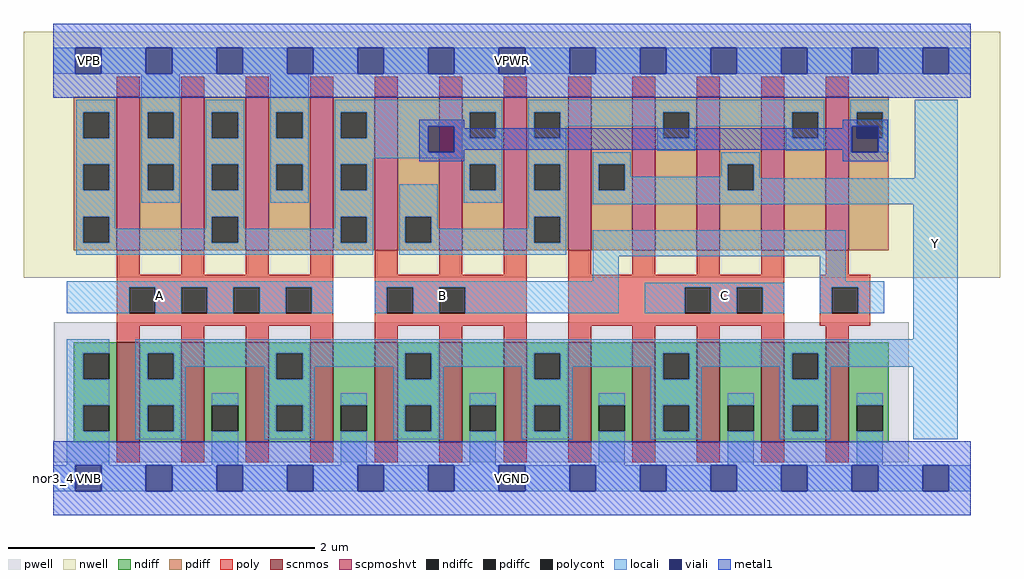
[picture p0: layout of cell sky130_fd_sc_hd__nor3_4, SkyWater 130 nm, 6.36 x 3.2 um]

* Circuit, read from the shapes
.subckt sky130_fd_sc_hd__nor3_4 A B C VGND VNB VPB VPWR Y
XM1 Y A VGND VNB sky130_fd_pr__nfet_01v8 w=0.65 l=0.15 m=4
XM2 Y B VGND VNB sky130_fd_pr__nfet_01v8 w=0.65 l=0.15 m=4
XM3 VGND C Y VNB sky130_fd_pr__nfet_01v8 w=0.65 l=0.15 m=4
XM4 VPWR A n1 VPB sky130_fd_pr__pfet_01v8_hvt w=1 l=0.15 m=4
XM5 n2 B n1 VPB sky130_fd_pr__pfet_01v8_hvt w=1 l=0.15 m=4
XM6 Y C n2 VPB sky130_fd_pr__pfet_01v8_hvt w=1 l=0.15 m=4
.ends

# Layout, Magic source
magic
tech sky130B
magscale 1 2
<< nwell >>
rect -38 261 1234 582
<< pwell >>
rect 1 21 1115 203
rect 30 -17 64 21
<< scnmos >>
rect 83 47 113 177
rect 167 47 197 177
rect 251 47 281 177
rect 335 47 365 177
rect 419 47 449 177
rect 503 47 533 177
rect 587 47 617 177
rect 671 47 701 177
rect 755 47 785 177
rect 839 47 869 177
rect 923 47 953 177
rect 1007 47 1037 177
<< scpmoshvt >>
rect 83 297 113 497
rect 167 297 197 497
rect 251 297 281 497
rect 335 297 365 497
rect 419 297 449 497
rect 503 297 533 497
rect 587 297 617 497
rect 671 297 701 497
rect 755 297 785 497
rect 839 297 869 497
rect 923 297 953 497
rect 1007 297 1037 497
<< ndiff >>
rect 27 163 83 177
rect 27 129 39 163
rect 73 129 83 163
rect 27 95 83 129
rect 27 61 39 95
rect 73 61 83 95
rect 27 47 83 61
rect 113 163 167 177
rect 113 129 123 163
rect 157 129 167 163
rect 113 95 167 129
rect 113 61 123 95
rect 157 61 167 95
rect 113 47 167 61
rect 197 95 251 177
rect 197 61 207 95
rect 241 61 251 95
rect 197 47 251 61
rect 281 163 335 177
rect 281 129 291 163
rect 325 129 335 163
rect 281 95 335 129
rect 281 61 291 95
rect 325 61 335 95
rect 281 47 335 61
rect 365 95 419 177
rect 365 61 375 95
rect 409 61 419 95
rect 365 47 419 61
rect 449 163 503 177
rect 449 129 459 163
rect 493 129 503 163
rect 449 95 503 129
rect 449 61 459 95
rect 493 61 503 95
rect 449 47 503 61
rect 533 95 587 177
rect 533 61 543 95
rect 577 61 587 95
rect 533 47 587 61
rect 617 163 671 177
rect 617 129 627 163
rect 661 129 671 163
rect 617 95 671 129
rect 617 61 627 95
rect 661 61 671 95
rect 617 47 671 61
rect 701 95 755 177
rect 701 61 711 95
rect 745 61 755 95
rect 701 47 755 61
rect 785 163 839 177
rect 785 129 795 163
rect 829 129 839 163
rect 785 95 839 129
rect 785 61 795 95
rect 829 61 839 95
rect 785 47 839 61
rect 869 95 923 177
rect 869 61 879 95
rect 913 61 923 95
rect 869 47 923 61
rect 953 163 1007 177
rect 953 129 963 163
rect 997 129 1007 163
rect 953 95 1007 129
rect 953 61 963 95
rect 997 61 1007 95
rect 953 47 1007 61
rect 1037 95 1089 177
rect 1037 61 1047 95
rect 1081 61 1089 95
rect 1037 47 1089 61
<< pdiff >>
rect 27 477 83 497
rect 27 443 39 477
rect 73 443 83 477
rect 27 409 83 443
rect 27 375 39 409
rect 73 375 83 409
rect 27 341 83 375
rect 27 307 39 341
rect 73 307 83 341
rect 27 297 83 307
rect 113 477 167 497
rect 113 443 123 477
rect 157 443 167 477
rect 113 409 167 443
rect 113 375 123 409
rect 157 375 167 409
rect 113 297 167 375
rect 197 477 251 497
rect 197 443 207 477
rect 241 443 251 477
rect 197 409 251 443
rect 197 375 207 409
rect 241 375 251 409
rect 197 341 251 375
rect 197 307 207 341
rect 241 307 251 341
rect 197 297 251 307
rect 281 477 335 497
rect 281 443 291 477
rect 325 443 335 477
rect 281 409 335 443
rect 281 375 291 409
rect 325 375 335 409
rect 281 297 335 375
rect 365 477 419 497
rect 365 443 375 477
rect 409 443 419 477
rect 365 409 419 443
rect 365 375 375 409
rect 409 375 419 409
rect 365 341 419 375
rect 365 307 375 341
rect 409 307 419 341
rect 365 297 419 307
rect 449 341 503 497
rect 449 307 459 341
rect 493 307 503 341
rect 449 297 503 307
rect 533 477 587 497
rect 533 443 543 477
rect 577 443 587 477
rect 533 409 587 443
rect 533 375 543 409
rect 577 375 587 409
rect 533 297 587 375
rect 617 477 671 497
rect 617 443 627 477
rect 661 443 671 477
rect 617 409 671 443
rect 617 375 627 409
rect 661 375 671 409
rect 617 341 671 375
rect 617 307 627 341
rect 661 307 671 341
rect 617 297 671 307
rect 701 409 755 497
rect 701 375 711 409
rect 745 375 755 409
rect 701 297 755 375
rect 785 477 839 497
rect 785 443 795 477
rect 829 443 839 477
rect 785 297 839 443
rect 869 409 923 497
rect 869 375 879 409
rect 913 375 923 409
rect 869 297 923 375
rect 953 477 1007 497
rect 953 443 963 477
rect 997 443 1007 477
rect 953 297 1007 443
rect 1037 477 1089 497
rect 1037 443 1047 477
rect 1081 443 1089 477
rect 1037 297 1089 443
<< ndiffc >>
rect 39 129 73 163
rect 39 61 73 95
rect 123 129 157 163
rect 123 61 157 95
rect 207 61 241 95
rect 291 129 325 163
rect 291 61 325 95
rect 375 61 409 95
rect 459 129 493 163
rect 459 61 493 95
rect 543 61 577 95
rect 627 129 661 163
rect 627 61 661 95
rect 711 61 745 95
rect 795 129 829 163
rect 795 61 829 95
rect 879 61 913 95
rect 963 129 997 163
rect 963 61 997 95
rect 1047 61 1081 95
<< pdiffc >>
rect 39 443 73 477
rect 39 375 73 409
rect 39 307 73 341
rect 123 443 157 477
rect 123 375 157 409
rect 207 443 241 477
rect 207 375 241 409
rect 207 307 241 341
rect 291 443 325 477
rect 291 375 325 409
rect 375 443 409 477
rect 375 375 409 409
rect 375 307 409 341
rect 459 307 493 341
rect 543 443 577 477
rect 543 375 577 409
rect 627 443 661 477
rect 627 375 661 409
rect 627 307 661 341
rect 711 375 745 409
rect 795 443 829 477
rect 879 375 913 409
rect 963 443 997 477
rect 1047 443 1081 477
<< poly >>
rect 83 497 113 523
rect 167 497 197 523
rect 251 497 281 523
rect 335 497 365 523
rect 419 497 449 523
rect 503 497 533 523
rect 587 497 617 523
rect 671 497 701 523
rect 755 497 785 523
rect 839 497 869 523
rect 923 497 953 523
rect 1007 497 1037 523
rect 83 265 113 297
rect 167 265 197 297
rect 251 265 281 297
rect 335 265 365 297
rect 83 249 365 265
rect 83 215 99 249
rect 133 215 167 249
rect 201 215 235 249
rect 269 215 303 249
rect 337 215 365 249
rect 83 199 365 215
rect 83 177 113 199
rect 167 177 197 199
rect 251 177 281 199
rect 335 177 365 199
rect 419 265 449 297
rect 503 265 533 297
rect 587 265 617 297
rect 419 249 617 265
rect 419 215 435 249
rect 469 215 503 249
rect 537 215 617 249
rect 419 199 617 215
rect 419 177 449 199
rect 503 177 533 199
rect 587 177 617 199
rect 671 265 701 297
rect 755 265 785 297
rect 839 265 869 297
rect 923 265 953 297
rect 1007 265 1037 297
rect 671 249 953 265
rect 671 215 823 249
rect 857 215 891 249
rect 925 215 953 249
rect 671 199 953 215
rect 999 249 1065 265
rect 999 215 1015 249
rect 1049 215 1065 249
rect 999 199 1065 215
rect 671 177 701 199
rect 755 177 785 199
rect 839 177 869 199
rect 923 177 953 199
rect 1007 177 1037 199
rect 83 21 113 47
rect 167 21 197 47
rect 251 21 281 47
rect 335 21 365 47
rect 419 21 449 47
rect 503 21 533 47
rect 587 21 617 47
rect 671 21 701 47
rect 755 21 785 47
rect 839 21 869 47
rect 923 21 953 47
rect 1007 21 1037 47
<< polycont >>
rect 99 215 133 249
rect 167 215 201 249
rect 235 215 269 249
rect 303 215 337 249
rect 435 215 469 249
rect 503 215 537 249
rect 823 215 857 249
rect 891 215 925 249
rect 1015 215 1049 249
<< locali >>
rect 0 527 29 561
rect 63 527 121 561
rect 155 527 213 561
rect 247 527 305 561
rect 339 527 397 561
rect 431 527 489 561
rect 523 527 581 561
rect 615 527 673 561
rect 707 527 765 561
rect 799 527 857 561
rect 891 527 949 561
rect 983 527 1041 561
rect 1075 527 1133 561
rect 1167 527 1196 561
rect 30 477 81 493
rect 30 443 39 477
rect 73 443 81 477
rect 30 409 81 443
rect 30 375 39 409
rect 73 375 81 409
rect 30 341 81 375
rect 115 477 165 527
rect 115 443 123 477
rect 157 443 165 477
rect 115 409 165 443
rect 115 375 123 409
rect 157 375 165 409
rect 115 359 165 375
rect 199 477 249 493
rect 199 443 207 477
rect 241 443 249 477
rect 199 409 249 443
rect 199 375 207 409
rect 241 375 249 409
rect 30 307 39 341
rect 73 325 81 341
rect 199 341 249 375
rect 283 477 333 527
rect 283 443 291 477
rect 325 443 333 477
rect 283 409 333 443
rect 283 375 291 409
rect 325 375 333 409
rect 283 359 333 375
rect 367 477 585 493
rect 367 443 375 477
rect 409 459 543 477
rect 409 443 489 459
rect 367 425 489 443
rect 523 443 543 459
rect 577 443 585 477
rect 523 425 585 443
rect 367 417 585 425
rect 367 409 417 417
rect 367 375 375 409
rect 409 375 417 409
rect 535 409 585 417
rect 199 325 207 341
rect 73 307 207 325
rect 241 325 249 341
rect 367 341 417 375
rect 367 325 375 341
rect 241 307 375 325
rect 409 307 417 341
rect 30 291 417 307
rect 451 341 501 383
rect 535 375 543 409
rect 577 375 585 409
rect 535 359 585 375
rect 619 477 1005 493
rect 619 443 627 477
rect 661 459 795 477
rect 661 443 669 459
rect 619 409 669 443
rect 787 443 795 459
rect 829 459 963 477
rect 829 443 837 459
rect 787 427 837 443
rect 955 443 963 459
rect 997 443 1005 477
rect 955 427 1005 443
rect 1039 477 1089 493
rect 1039 459 1047 477
rect 1039 425 1041 459
rect 1081 443 1089 477
rect 1075 425 1089 443
rect 619 375 627 409
rect 661 375 669 409
rect 451 307 459 341
rect 493 325 501 341
rect 619 341 669 375
rect 703 409 753 425
rect 703 375 711 409
rect 745 393 753 409
rect 871 409 921 425
rect 871 393 879 409
rect 745 375 879 393
rect 913 391 921 409
rect 1123 391 1179 493
rect 913 375 1179 391
rect 703 357 1179 375
rect 619 325 627 341
rect 493 307 627 325
rect 661 307 669 341
rect 451 291 669 307
rect 703 289 1033 323
rect 703 257 737 289
rect 18 249 365 257
rect 18 215 99 249
rect 133 215 167 249
rect 201 215 235 249
rect 269 215 303 249
rect 337 215 365 249
rect 419 249 737 257
rect 999 257 1033 289
rect 419 215 435 249
rect 469 215 503 249
rect 537 215 737 249
rect 771 249 953 255
rect 771 215 823 249
rect 857 215 891 249
rect 925 215 953 249
rect 999 249 1083 257
rect 999 215 1015 249
rect 1049 215 1083 249
rect 1121 181 1179 357
rect 18 163 73 181
rect 18 129 39 163
rect 18 95 73 129
rect 18 61 39 95
rect 18 17 73 61
rect 107 163 1179 181
rect 107 129 123 163
rect 157 145 291 163
rect 157 129 173 145
rect 107 95 173 129
rect 275 129 291 145
rect 325 145 459 163
rect 325 129 341 145
rect 107 61 123 95
rect 157 61 173 95
rect 107 51 173 61
rect 207 95 241 111
rect 207 17 241 61
rect 275 95 341 129
rect 443 129 459 145
rect 493 145 627 163
rect 493 129 509 145
rect 275 61 291 95
rect 325 61 341 95
rect 275 51 341 61
rect 375 95 409 111
rect 375 17 409 61
rect 443 95 509 129
rect 611 129 627 145
rect 661 145 795 163
rect 661 129 677 145
rect 443 61 459 95
rect 493 61 509 95
rect 443 51 509 61
rect 543 95 577 111
rect 543 17 577 61
rect 611 95 677 129
rect 779 129 795 145
rect 829 145 963 163
rect 829 129 845 145
rect 611 61 627 95
rect 661 61 677 95
rect 611 51 677 61
rect 711 95 745 111
rect 711 17 745 61
rect 779 95 845 129
rect 947 129 963 145
rect 997 145 1179 163
rect 997 129 1013 145
rect 779 61 795 95
rect 829 61 845 95
rect 779 51 845 61
rect 879 95 913 111
rect 879 17 913 61
rect 947 95 1013 129
rect 947 61 963 95
rect 997 61 1013 95
rect 947 51 1013 61
rect 1047 95 1081 111
rect 1047 17 1081 61
rect 1121 51 1179 145
rect 0 -17 29 17
rect 63 -17 121 17
rect 155 -17 213 17
rect 247 -17 305 17
rect 339 -17 397 17
rect 431 -17 489 17
rect 523 -17 581 17
rect 615 -17 673 17
rect 707 -17 765 17
rect 799 -17 857 17
rect 891 -17 949 17
rect 983 -17 1041 17
rect 1075 -17 1133 17
rect 1167 -17 1196 17
<< viali >>
rect 29 527 63 561
rect 121 527 155 561
rect 213 527 247 561
rect 305 527 339 561
rect 397 527 431 561
rect 489 527 523 561
rect 581 527 615 561
rect 673 527 707 561
rect 765 527 799 561
rect 857 527 891 561
rect 949 527 983 561
rect 1041 527 1075 561
rect 1133 527 1167 561
rect 489 425 523 459
rect 1041 443 1047 459
rect 1047 443 1075 459
rect 1041 425 1075 443
rect 29 -17 63 17
rect 121 -17 155 17
rect 213 -17 247 17
rect 305 -17 339 17
rect 397 -17 431 17
rect 489 -17 523 17
rect 581 -17 615 17
rect 673 -17 707 17
rect 765 -17 799 17
rect 857 -17 891 17
rect 949 -17 983 17
rect 1041 -17 1075 17
rect 1133 -17 1167 17
<< metal1 >>
rect 0 561 1196 592
rect 0 527 29 561
rect 63 527 121 561
rect 155 527 213 561
rect 247 527 305 561
rect 339 527 397 561
rect 431 527 489 561
rect 523 527 581 561
rect 615 527 673 561
rect 707 527 765 561
rect 799 527 857 561
rect 891 527 949 561
rect 983 527 1041 561
rect 1075 527 1133 561
rect 1167 527 1196 561
rect 0 496 1196 527
rect 477 459 536 467
rect 477 425 489 459
rect 523 456 536 459
rect 1029 459 1088 467
rect 1029 456 1041 459
rect 523 428 1041 456
rect 523 425 536 428
rect 477 413 536 425
rect 1029 425 1041 428
rect 1075 425 1088 459
rect 1029 413 1088 425
rect 0 17 1196 48
rect 0 -17 29 17
rect 63 -17 121 17
rect 155 -17 213 17
rect 247 -17 305 17
rect 339 -17 397 17
rect 431 -17 489 17
rect 523 -17 581 17
rect 615 -17 673 17
rect 707 -17 765 17
rect 799 -17 857 17
rect 891 -17 949 17
rect 983 -17 1041 17
rect 1075 -17 1133 17
rect 1167 -17 1196 17
rect 0 -48 1196 -17
<< labels >>
flabel locali s 122 221 156 255 0 FreeSans 400 0 0 0 A
port 1 nsew signal input
flabel locali s 858 221 892 255 0 FreeSans 400 0 0 0 C
port 3 nsew signal input
flabel locali s 490 221 524 255 0 FreeSans 400 0 0 0 B
port 2 nsew signal input
flabel locali s 1133 289 1167 323 0 FreeSans 400 0 0 0 Y
port 8 nsew signal output
flabel nwell s 30 527 64 561 0 FreeSans 200 0 0 0 VPB
port 6 nsew power bidirectional
flabel pwell s 30 -17 64 17 0 FreeSans 200 0 0 0 VNB
port 5 nsew ground bidirectional
flabel metal1 s 30 -17 64 17 0 FreeSans 200 0 0 0 VGND
port 4 nsew ground bidirectional abutment
flabel metal1 s 30 527 64 561 0 FreeSans 200 0 0 0 VPWR
port 7 nsew power bidirectional abutment
rlabel comment s 0 0 0 0 4 nor3_4
rlabel metal1 s 0 -48 1196 48 1 VGND
port 4 nsew ground bidirectional abutment
rlabel metal1 s 0 496 1196 592 1 VPWR
port 7 nsew power bidirectional abutment
<< properties >>
string FIXED_BBOX 0 0 1196 544
string GDS_END 2015268
string GDS_FILE $PDKPATH/libs.ref/sky130_fd_sc_hd/gds/sky130_fd_sc_hd.gds
string GDS_START 2005952
string LEFclass CORE
string LEFsite unithd
string LEFsymmetry X Y R90
string path 0.000 0.000 29.900 0.000 
<< end >>
